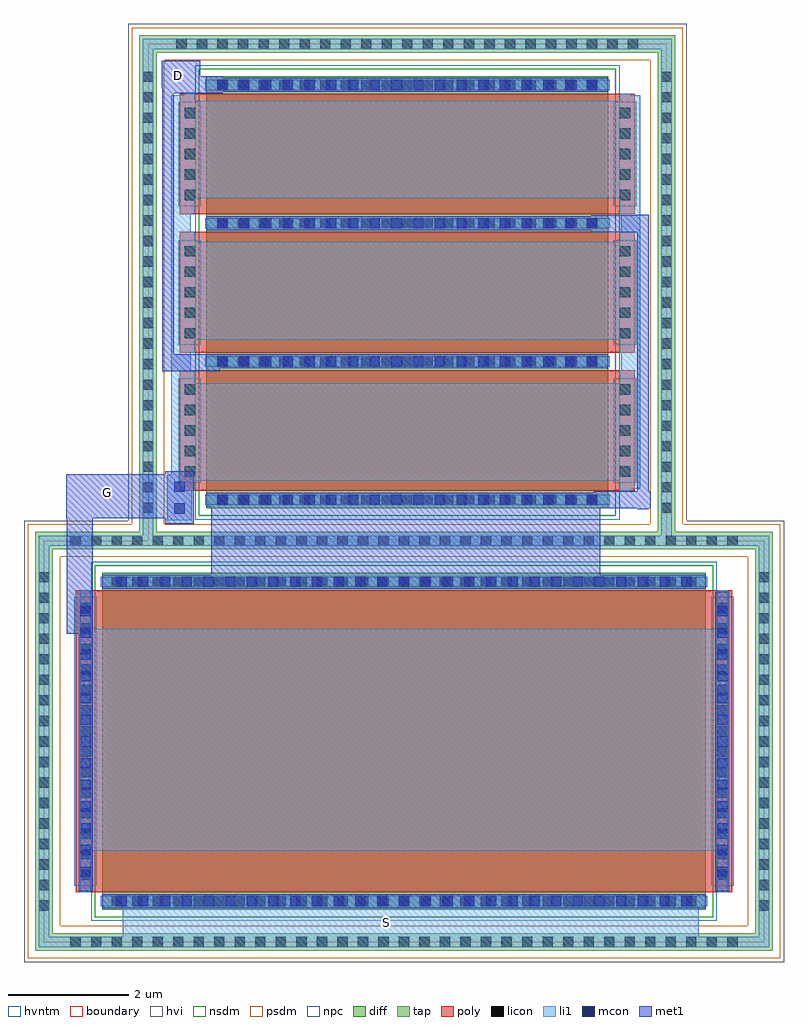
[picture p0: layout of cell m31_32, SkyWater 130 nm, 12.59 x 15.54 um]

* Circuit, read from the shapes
.subckt m31_32 D G S
XM1 n1 G S S sky130_fd_pr__nfet_g5v0d10v5 w=10 l=5
XM2 D G n1 S sky130_fd_pr__nfet_g5v0d10v5 w=6.66 l=2 m=3
.ends

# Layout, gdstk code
from math import pi, radians
import gdstk
lib = gdstk.Library(unit=1e-6, precision=1e-09)
def R(c, l, rs):  # rectangles x0, y0, x1, y1
    for r in rs: c.add(gdstk.rectangle(r[:2], r[2:], *l))
def A(c, l, x, y, w, h, nx, ny, dx, dy):  # array of equal rectangles
    R(c, l, [(x+i*dx, y+j*dy, x+i*dx+w, y+j*dy+h) for i in range(nx) for j in range(ny)])
diff = (65, 20)
tap = (65, 44)
poly = (66, 20)
licon = (66, 44)
li1 = (67, 20)
mcon = (67, 44)
met1 = (68, 20)
hvi = (75, 20)
nsdm = (93, 44)
psdm = (94, 20)
npc = (95, 20)
hvntm = (125, 20)
boundary = (235, 4)

sky130_fd_pr__nfet_g5v0d = lib.new_cell('sky130_fd_pr__nfet_g5v0d10v5_XPP34T')
R(sky130_fd_pr__nfet_g5v0d, diff, [(-2.79,-5,2.79,5)])
R(sky130_fd_pr__nfet_g5v0d, tap, [(-3.47,-6.11,3.47,-5.82), (-3.47,-5.82,-3.18,5.82), (3.18,-5.82,3.47,5.82), (-3.47,5.82,3.47,6.11)])
R(sky130_fd_pr__nfet_g5v0d, poly, [(-2.5,-5.44,2.5,5.44)])
A(sky130_fd_pr__nfet_g5v0d, licon, -2.805, -6.05, 0.17, 0.17, 17, 2, 0.34, 11.93)
A(sky130_fd_pr__nfet_g5v0d, licon, -3.41, -5.525, 0.17, 0.17, 1, 33, 0, 0.34)
A(sky130_fd_pr__nfet_g5v0d, licon, 3.24, -5.525, 0.17, 0.17, 1, 33, 0, 0.34)
A(sky130_fd_pr__nfet_g5v0d, licon, -2.295, -5.36, 0.17, 0.17, 14, 2, 0.34, 10.55)
A(sky130_fd_pr__nfet_g5v0d, licon, -2.73, -4.845, 0.17, 0.17, 1, 29, 0, 0.34)
A(sky130_fd_pr__nfet_g5v0d, licon, 2.56, -4.845, 0.17, 0.17, 1, 29, 0, 0.34)
R(sky130_fd_pr__nfet_g5v0d, li1, [(-3.41,-6.05,3.41,-5.88), (-3.41,-5.88,-3.24,5.88), (3.24,-5.88,3.41,5.88), (-2.5,-5.36,2.5,-5.19), (-2.73,-5.02,-2.56,5.02), (2.56,-5.02,2.73,5.02), (-2.5,5.19,2.5,5.36), (-3.41,5.88,3.41,6.05)])
A(sky130_fd_pr__nfet_g5v0d, mcon, -2.245, -5.36, 0.17, 0.17, 13, 2, 0.36, 10.55)
A(sky130_fd_pr__nfet_g5v0d, mcon, -2.73, -4.765, 0.17, 0.17, 1, 27, 0, 0.36)
A(sky130_fd_pr__nfet_g5v0d, mcon, 2.56, -4.765, 0.17, 0.17, 1, 27, 0, 0.36)
R(sky130_fd_pr__nfet_g5v0d, met1, [(-2.48,-5.39,2.48,-5.16), (-2.76,-5,-2.53,5), (2.53,-5,2.76,5), (-2.48,5.16,2.48,5.39)])
R(sky130_fd_pr__nfet_g5v0d, hvi, [(-3.655,-6.295,3.655,6.295)])
R(sky130_fd_pr__nfet_g5v0d, nsdm, [(-2.915,-5.125,2.915,5.125)])
R(sky130_fd_pr__nfet_g5v0d, psdm, [(-3.595,-6.235,3.595,-5.695), (-3.595,-5.695,-3.055,5.695), (3.055,-5.695,3.595,5.695), (-3.595,5.695,3.595,6.235)])
R(sky130_fd_pr__nfet_g5v0d, npc, [(-2.395,-5.46,2.395,-5.09), (-2.395,5.09,2.395,5.46)])
R(sky130_fd_pr__nfet_g5v0d, hvntm, [(-2.975,-5.185,2.975,5.185)])
R(sky130_fd_pr__nfet_g5v0d, boundary, [(-3.325,-5.965,3.325,5.965)])

c_sky130_fd_pr__nfet_g5v0d = lib.new_cell('sky130_fd_pr__nfet_g5v0d10v5_EQJBSH')
R(c_sky130_fd_pr__nfet_g5v0d, diff, [(-3.58,-3.33,3.58,3.33)])
R(c_sky130_fd_pr__nfet_g5v0d, tap, [(-4.26,-4.44,4.26,-4.15), (-4.26,-4.15,-3.97,4.15), (3.97,-4.15,4.26,4.15), (-4.26,4.15,4.26,4.44)])
A(c_sky130_fd_pr__nfet_g5v0d, poly, -3.29, -3.77, 2, 7.54, 3, 1, 2.29, 0)
A(c_sky130_fd_pr__nfet_g5v0d, licon, -3.655, -4.38, 0.17, 0.17, 22, 2, 0.34, 8.59)
A(c_sky130_fd_pr__nfet_g5v0d, licon, -4.2, -3.825, 0.17, 0.17, 1, 23, 0, 0.34)
A(c_sky130_fd_pr__nfet_g5v0d, licon, -3.055, -3.69, 0.17, 0.17, 5, 2, 0.34, 7.21)
A(c_sky130_fd_pr__nfet_g5v0d, licon, -0.765, -3.69, 0.17, 0.17, 5, 2, 0.34, 7.21)
A(c_sky130_fd_pr__nfet_g5v0d, licon, 1.525, -3.69, 0.17, 0.17, 5, 2, 0.34, 7.21)
A(c_sky130_fd_pr__nfet_g5v0d, licon, -3.52, -3.145, 0.17, 0.17, 4, 19, 2.29, 0.34)
A(c_sky130_fd_pr__nfet_g5v0d, li1, -3.29, -3.59, 2, 0.07, 3, 1, 2.29, 0)
A(c_sky130_fd_pr__nfet_g5v0d, li1, -3.175, -3.52, 1.62, 7.04, 3, 1, 2.34, 0)
A(c_sky130_fd_pr__nfet_g5v0d, li1, -3.52, -3.35, 0.17, 6.7, 4, 1, 2.29, 0)
A(c_sky130_fd_pr__nfet_g5v0d, li1, -3.29, 3.52, 2, 0.02, 3, 1, 2.29, 0)
R(c_sky130_fd_pr__nfet_g5v0d, li1, [(-4.2,-4.38,4.03,-4.21), (-4.2,-4.21,-4.03,4.21), (-3.265,-3.91,3.255,-3.69), (-3.29,-3.69,3.29,-3.59), (-3.29,3.54,3.29,3.69), (-3.265,3.69,3.255,3.86), (-4.2,4.21,4.03,4.38)])
A(c_sky130_fd_pr__nfet_g5v0d, mcon, -3.52, -3.145, 0.17, 0.17, 4, 18, 2.29, 0.36)
R(c_sky130_fd_pr__nfet_g5v0d, met1, [(-3.575,-4.06,1.305,-3.87), (-3.575,-3.87,-3.295,-3.06), (1.025,-3.87,1.305,-3.11), (-1.26,-3.33,-1.03,3.05), (3.32,-3.33,3.55,3.09), (1.03,-3.11,1.26,3.33), (-3.55,-3.06,-3.32,3.33), (-1.275,3.05,-0.995,3.81), (3.295,3.09,3.575,3.81), (-1.285,3.81,3.595,4), (3.295,4,3.575,4.03)])
R(c_sky130_fd_pr__nfet_g5v0d, hvi, [(-4.445,-4.625,4.445,4.625)])
R(c_sky130_fd_pr__nfet_g5v0d, nsdm, [(-3.705,-3.455,3.705,3.455)])
R(c_sky130_fd_pr__nfet_g5v0d, psdm, [(-4.385,-4.565,4.385,-4.025), (-4.385,-4.025,-3.845,4.025), (3.845,-4.025,4.385,4.025), (-4.385,4.025,4.385,4.565)])
A(c_sky130_fd_pr__nfet_g5v0d, npc, -3.155, -3.79, 1.73, 0.37, 3, 2, 2.29, 7.21)
R(c_sky130_fd_pr__nfet_g5v0d, hvntm, [(-3.765,-3.515,3.765,3.515)])
R(c_sky130_fd_pr__nfet_g5v0d, boundary, [(-4.115,-4.295,4.115,4.295)])

m31_32 = lib.new_cell('m31_32')
R(m31_32, li1, [(107.81,58.96,117.35,59.69), (107.1,60.49,117.77,64.17), (108.54,65.97,108.95,66.72)])
R(m31_32, mcon, [(108.66,66.08,108.83,66.25), (108.66,66.44,108.83,66.61)])
R(m31_32, met1, [(106.88,64.09,107.31,66), (109.27,64.92,115.72,66.33), (108.51,65.91,108.98,66), (106.87,66,108.98,66.73), (108.51,66.73,108.98,66.78), (108.45,73.13,109.09,73.58)])
m31_32.add(gdstk.Reference(sky130_fd_pr__nfet_g5v0d, (112.465,62.305), rotation=3*pi/2))
m31_32.add(gdstk.Reference(c_sky130_fd_pr__nfet_g5v0d, (112.52,69.745), rotation=3*pi/2))
m31_32.add(gdstk.Label('G', (107.55,66.43), layer=68, texttype=5))
m31_32.add(gdstk.Label('S', (112.17,59.3), layer=67, texttype=5))
m31_32.add(gdstk.Label('D', (108.73,73.34), layer=68, texttype=5))

lib.write_gds('m31_32.gds')
